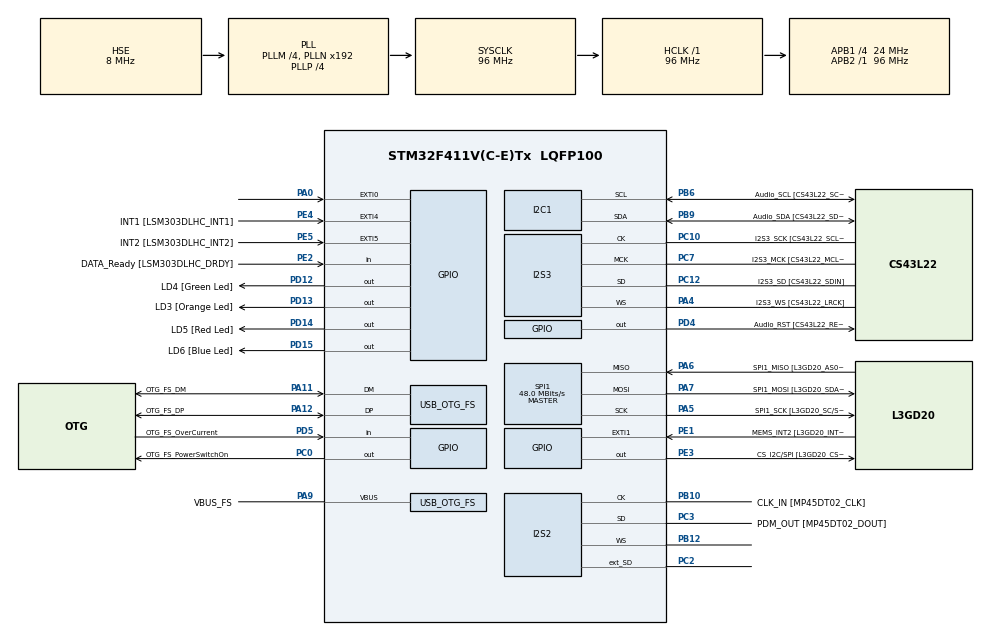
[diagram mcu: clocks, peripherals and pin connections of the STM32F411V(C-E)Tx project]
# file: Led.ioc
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I2S2.AudioFreq=I2S_AUDIOFREQ_96K
I2S2.ErrorAudioFreq=0.15 %
I2S2.FullDuplexMode=I2S_FULLDUPLEXMODE_ENABLE
I2S2.Instance=SPI$Index
I2S2.RealAudioFreq=96.153 KHz
I2S2.VirtualMode=I2S_MODE_MASTER
I2S3.AudioFreq=I2S_AUDIOFREQ_96K
I2S3.ErrorAudioFreq=-6.99 %
I2S3.FullDuplexMode=I2S_FULLDUPLEXMODE_DISABLE
I2S3.Instance=SPI$Index
I2S3.RealAudioFreq=89.285 KHz
I2S3.VirtualMode=I2S_MODE_MASTER
Mcu.Family=STM32F4
Mcu.Name=STM32F411V(C-E)Tx
Mcu.Package=LQFP100
NVIC.OTG_FS_IRQn=true\:0\:0\:false\:false\:true\:true\:true\:true
NVIC.PriorityGroup=NVIC_PRIORITYGROUP_0
PA0-WKUP.GPIO_ModeDefaultEXTI=GPIO_MODE_EVT_RISING
PA0-WKUP.Signal=GPXTI0
PA10.GPIO_Label=OTG_FS_ID
PA10.Signal=USB_OTG_FS_ID
PA11.GPIO_Label=OTG_FS_DM
PA11.Mode=Host_Only
PA11.Signal=USB_OTG_FS_DM
PA12.GPIO_Label=OTG_FS_DP
PA12.Mode=Host_Only
PA12.Signal=USB_OTG_FS_DP
PA13.GPIO_Label=SWDIO
PA13.Mode=Serial_Wire
PA13.Signal=SYS_JTMS-SWDIO
PA14.GPIO_Label=SWCLK
PA14.Mode=Serial_Wire
PA14.Signal=SYS_JTCK-SWCLK
PA4.GPIO_Label=I2S3_WS [CS43L22_LRCK]
PA4.GPIO_Mode=GPIO_MODE_AF_PP
PA4.GPIO_PuPd=GPIO_NOPULL
PA4.GPIO_Speed=GPIO_SPEED_FREQ_LOW
PA4.Mode=Half_Duplex_Master
PA4.Signal=I2S3_WS
PA5.GPIO_Label=SPI1_SCK [L3GD20_SC/SPC]
PA5.Mode=Full_Duplex_Master
PA5.Signal=SPI1_SCK
PA6.GPIO_Label=SPI1_MISO [L3GD20_AS0/SDO]
PA6.Mode=Full_Duplex_Master
PA6.Signal=SPI1_MISO
PA7.GPIO_Label=SPI1_MOSI [L3GD20_SDA/SDI/SDO]
PA7.Mode=Full_Duplex_Master
PA7.Signal=SPI1_MOSI
PA9.GPIO_Label=VBUS_FS
PA9.Mode=Activate_VBUS
PA9.Signal=USB_OTG_FS_VBUS
PB10.GPIO_Label=CLK_IN [MP45DT02_CLK]
PB10.Mode=Full_Duplex_Master
PB10.Signal=I2S2_CK
PB12.Mode=Full_Duplex_Master
PB12.Signal=I2S2_WS
PB3.GPIO_Label=SWO
PB3.Signal=SYS_JTDO-SWO
PB6.GPIO_Label=Audio_SCL [CS43L22_SCL]
PB6.GPIO_Mode=GPIO_MODE_AF_OD
PB6.GPIO_Pu=GPIO_PULLUP
PB6.GPIO_PuPd=GPIO_NOPULL
PB6.GPIO_Speed=GPIO_SPEED_FREQ_LOW
PB6.Mode=I2C
PB6.Signal=I2C1_SCL
PB9.GPIO_Label=Audio_SDA [CS43L22_SDA]
PB9.GPIO_Mode=GPIO_MODE_AF_OD
PB9.GPIO_Pu=GPIO_PULLUP
PB9.GPIO_PuPd=GPIO_NOPULL
PB9.GPIO_Speed=GPIO_SPEED_FREQ_LOW
PB9.Mode=I2C
PB9.Signal=I2C1_SDA
PC0.GPIO_Label=OTG_FS_PowerSwitchOn
PC0.PinState=GPIO_PIN_SET
PC0.Signal=GPIO_Output
PC10.GPIO_Label=I2S3_SCK [CS43L22_SCLK]
PC10.GPIO_Mode=GPIO_MODE_AF_PP
PC10.GPIO_PuPd=GPIO_NOPULL
PC10.GPIO_Speed=GPIO_SPEED_FREQ_LOW
PC10.Mode=Half_Duplex_Master
PC10.Signal=I2S3_CK
PC12.GPIO_Label=I2S3_SD [CS43L22_SDIN]
PC12.GPIO_Mode=GPIO_MODE_AF_PP
PC12.GPIO_PuPd=GPIO_NOPULL
PC12.GPIO_Speed=GPIO_SPEED_FREQ_LOW
PC12.Mode=Half_Duplex_Master
PC12.Signal=I2S3_SD
PC14-OSC32_IN.GPIO_Label=PC14-OSC32_IN
PC14-OSC32_IN.Mode=LSE-External-Oscillator
PC14-OSC32_IN.Signal=RCC_OSC32_IN
PC15-OSC32_OUT.GPIO_Label=PC15-OSC32_OUT
PC15-OSC32_OUT.Mode=LSE-External-Oscillator
PC15-OSC32_OUT.Signal=RCC_OSC32_OUT
PC2.Mode=Full_Duplex_Master
PC2.Signal=I2S2_ext_SD
PC3.GPIO_Label=PDM_OUT [MP45DT02_DOUT]
PC3.Mode=Full_Duplex_Master
PC3.Signal=I2S2_SD
PC7.GPIO_Label=I2S3_MCK [CS43L22_MCLK]
PC7.GPIO_Mode=GPIO_MODE_AF_PP
PC7.GPIO_PuPd=GPIO_NOPULL
PC7.GPIO_Speed=GPIO_SPEED_FREQ_LOW
PC7.Mode=Master_Clock_Activated
PC7.Signal=I2S3_MCK
PD12.GPIO_Label=LD4 [Green Led]
PD12.GPIO_PuPd=GPIO_NOPULL
PD12.GPIO_Speed=GPIO_SPEED_FREQ_LOW
PD12.Signal=GPIO_Output
PD13.GPIO_Label=LD3 [Orange Led]
PD13.GPIO_PuPd=GPIO_NOPULL
PD13.GPIO_Speed=GPIO_SPEED_FREQ_LOW
PD13.Signal=GPIO_Output
PD14.GPIO_Label=LD5 [Red Led]
PD14.GPIO_PuPd=GPIO_NOPULL
PD14.GPIO_Speed=GPIO_SPEED_FREQ_LOW
PD14.Signal=GPIO_Output
PD15.GPIO_Label=LD6 [Blue Led]
PD15.GPIO_PuPd=GPIO_NOPULL
PD15.GPIO_Speed=GPIO_SPEED_FREQ_LOW
PD15.Signal=GPIO_Output
PD4.GPIO_Label=Audio_RST [CS43L22_RESET]
PD4.Signal=GPIO_Output
PD5.GPIO_Label=OTG_FS_OverCurrent
PD5.Signal=GPIO_Input
PE1.GPIO_Label=MEMS_INT2 [L3GD20_INT2]
PE1.GPIO_ModeDefaultEXTI=GPIO_MODE_EVT_RISING
PE1.Signal=GPXTI1
PE2.GPIO_Label=DATA_Ready [LSM303DLHC_DRDY]
PE2.Signal=GPIO_Input
PE3.GPIO_Label=CS_I2C/SPI [L3GD20_CS_I2C/SPI]
PE3.Signal=GPIO_Output
PE4.GPIO_Label=INT1 [LSM303DLHC_INT1]
PE4.GPIO_ModeDefaultEXTI=GPIO_MODE_EVT_RISING
PE4.Signal=GPXTI4
PE5.GPIO_Label=INT2 [LSM303DLHC_INT2]
PE5.GPIO_ModeDefaultEXTI=GPIO_MODE_EVT_RISING
PE5.Signal=GPXTI5
PH0\ -\ OSC_IN.GPIO_Label=PH0-OSC_IN
PH0\ -\ OSC_IN.Mode=HSE-External-Oscillator
PH0\ -\ OSC_IN.Signal=RCC_OSC_IN
PH1\ -\ OSC_OUT.GPIO_Label=PH1-OSC_OUT
PH1\ -\ OSC_OUT.Mode=HSE-External-Oscillator
PH1\ -\ OSC_OUT.Signal=RCC_OSC_OUT
ProjectManager.HeapSize=0x200
ProjectManager.StackSize=0x400
ProjectManager.TargetToolchain=STM32CubeIDE
RCC.48MHZClocksFreq_Value=48000000
RCC.AHBFreq_Value=96000000
RCC.APB1CLKDivider=RCC_HCLK_DIV4
RCC.APB1Freq_Value=24000000
RCC.APB1TimFreq_Value=48000000
RCC.APB2Freq_Value=96000000
RCC.APB2TimFreq_Value=96000000
RCC.CortexFreq_Value=96000000
RCC.HCLKFreq_Value=96000000
RCC.HSE_VALUE=8000000
RCC.HSI_VALUE=16000000
RCC.PLLI2SM=5
RCC.PLLI2SN=200
RCC.PLLM=4
RCC.PLLP=RCC_PLLP_DIV4
RCC.PLLQ=8
RCC.SYSCLKFreq_VALUE=96000000
RCC.SYSCLKSource=RCC_SYSCLKSOURCE_PLLCLK
RCC.VCOOutputFreq_Value=384000000
SPI1.BaudRatePrescaler=SPI_BAUDRATEPRESCALER_2
SPI1.CalculateBaudRate=48.0 MBits/s
SPI1.Direction=SPI_DIRECTION_2LINES
SPI1.Mode=SPI_MODE_MASTER
SPI1.VirtualType=VM_MASTER
USB_HOST.BSP.number=1
USB_HOST.USBH_HandleTypeDef=hUsbHostFS
USB_HOST.VirtualModeFS=Cdc
USB_HOST0.BSP.STBoard=false
USB_HOST0.BSP.api=Unknown
USB_HOST0.BSP.instance=PC0
USB_HOST0.BSP.ip=GPIO
USB_HOST0.BSP.mode=Output
USB_HOST0.BSP.name=Drive_VBUS_FS
USB_HOST0.BSP.solution=PC0
USB_OTG_FS.VirtualMode=Host_Only
USB_OTG_FS.phy_itface=HCD_PHY_EMBEDDED
VP_USB_HOST_VS_USB_HOST_CDC_FS.Mode=CDC_FS
board=STM32F411E-DISCO

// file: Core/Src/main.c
/* USER CODE BEGIN Header */
/**
  ******************************************************************************
  * @file           : main.c
  * @brief          : Main program body
  ******************************************************************************
  * @attention
  *
  * Copyright (c) 2023 STMicroelectronics.
  * All rights reserved.
  *
  * This software is licensed under terms that can be found in the LICENSE file
  * in the root directory of this software component.
  * If no LICENSE file comes with this software, it is provided AS-IS.
  *
  ******************************************************************************
  */
/* USER CODE END Header */
#include "main.h"
#include "i2c.h"
#include "i2s.h"
#include "spi.h"
#include "usb_host.h"
#include "gpio.h"

void SystemClock_Config(void);
void PeriphCommonClock_Config(void);
void MX_USB_HOST_Process(void);

int main(void)
{

  /* MCU Configuration--------------------------------------------------------*/

  /* Reset of all peripherals, Initializes the Flash interface and the Systick. */
  HAL_Init();

  /* USER CODE BEGIN Init */
  int state = 0;
  /* USER CODE END Init */

  /* Configure the system clock */
  SystemClock_Config();

/* Configure the peripherals common clocks */
  PeriphCommonClock_Config();

  /* Initialize all configured peripherals */
  MX_GPIO_Init();
  MX_I2C1_Init();
  MX_I2S2_Init();
  MX_I2S3_Init();
  MX_SPI1_Init();
  MX_USB_HOST_Init();

  /* Infinite loop */
  while (1)
  {
    MX_USB_HOST_Process();

    /* USER CODE BEGIN 3 */

/*    //Ejercicio 1
    HAL_GPIO_TogglePin(GPIOD, LD6_Pin);
    HAL_Delay(1000);
    HAL_GPIO_TogglePin(GPIOD, LD6_Pin);
    HAL_Delay(1000);*/

/*    //Ejercicio 2
    //LED ON
    HAL_GPIO_TogglePin(GPIOD, LD6_Pin);
    HAL_Delay(100);
    HAL_GPIO_TogglePin(GPIOD, LD5_Pin);
    HAL_Delay(100);
    HAL_GPIO_TogglePin(GPIOD, LD3_Pin);
    HAL_Delay(100);
    HAL_GPIO_TogglePin(GPIOD, LD4_Pin);
    HAL_Delay(100);
    //LED OFF
    HAL_GPIO_TogglePin(GPIOD, LD6_Pin);
    HAL_Delay(100);
    HAL_GPIO_TogglePin(GPIOD, LD5_Pin);
    HAL_Delay(100);
    HAL_GPIO_TogglePin(GPIOD, LD3_Pin);
    HAL_Delay(100);
    HAL_GPIO_TogglePin(GPIOD, LD4_Pin);
    HAL_Delay(100);*/

      //Ejercicio 3
   if (HAL_GPIO_ReadPin(GPIOA, GPIO_PIN_0) == GPIO_PIN_SET && state == 0){
	  state = 1;
   } else if (HAL_GPIO_ReadPin(GPIOA, GPIO_PIN_0) == GPIO_PIN_SET && state == 1){
	  state = 0;
   }

   if(state == 0){
	  HAL_GPIO_TogglePin(GPIOD, LD4_Pin);
	  HAL_Delay(200);
	  HAL_GPIO_TogglePin(GPIOD, LD4_Pin);
	  HAL_Delay(200);
   } else if (state == 1){
	  HAL_GPIO_TogglePin(GPIOD, LD5_Pin);
	  HAL_Delay(200);
	  HAL_GPIO_TogglePin(GPIOD, LD5_Pin);
	  HAL_Delay(200);
   }

  }
  /* USER CODE END 3 */
}

void SystemClock_Config(void)
{
  RCC_OscInitTypeDef RCC_OscInitStruct = {0};
  RCC_ClkInitTypeDef RCC_ClkInitStruct = {0};

  /** Configure the main internal regulator output voltage
  */
  __HAL_RCC_PWR_CLK_ENABLE();
  __HAL_PWR_VOLTAGESCALING_CONFIG(PWR_REGULATOR_VOLTAGE_SCALE1);

  /** Initializes the RCC Oscillators according to the specified parameters
  * in the RCC_OscInitTypeDef structure.
  */
  RCC_OscInitStruct.OscillatorType = RCC_OSCILLATORTYPE_HSE;
  RCC_OscInitStruct.HSEState = RCC_HSE_ON;
  RCC_OscInitStruct.PLL.PLLState = RCC_PLL_ON;
  RCC_OscInitStruct.PLL.PLLSource = RCC_PLLSOURCE_HSE;
  RCC_OscInitStruct.PLL.PLLM = 4;
  RCC_OscInitStruct.PLL.PLLN = 192;
  RCC_OscInitStruct.PLL.PLLP = RCC_PLLP_DIV4;
  RCC_OscInitStruct.PLL.PLLQ = 8;
  if (HAL_RCC_OscConfig(&RCC_OscInitStruct) != HAL_OK)
  {
    Error_Handler();
  }

  /** Initializes the CPU, AHB and APB buses clocks
  */
  RCC_ClkInitStruct.ClockType = RCC_CLOCKTYPE_HCLK|RCC_CLOCKTYPE_SYSCLK
                              |RCC_CLOCKTYPE_PCLK1|RCC_CLOCKTYPE_PCLK2;
  RCC_ClkInitStruct.SYSCLKSource = RCC_SYSCLKSOURCE_PLLCLK;
  RCC_ClkInitStruct.AHBCLKDivider = RCC_SYSCLK_DIV1;
  RCC_ClkInitStruct.APB1CLKDivider = RCC_HCLK_DIV4;
  RCC_ClkInitStruct.APB2CLKDivider = RCC_HCLK_DIV1;

  if (HAL_RCC_ClockConfig(&RCC_ClkInitStruct, FLASH_LATENCY_3) != HAL_OK)
  {
    Error_Handler();
  }
}

void PeriphCommonClock_Config(void)
{
  RCC_PeriphCLKInitTypeDef PeriphClkInitStruct = {0};

  /** Initializes the peripherals clock
  */
  PeriphClkInitStruct.PeriphClockSelection = RCC_PERIPHCLK_I2S;
  PeriphClkInitStruct.PLLI2S.PLLI2SN = 200;
  PeriphClkInitStruct.PLLI2S.PLLI2SM = 5;
  PeriphClkInitStruct.PLLI2S.PLLI2SR = 2;
  if (HAL_RCCEx_PeriphCLKConfig(&PeriphClkInitStruct) != HAL_OK)
  {
    Error_Handler();
  }
}

void Error_Handler(void)
{
  __disable_irq();
  while (1)
  {
  }
}
